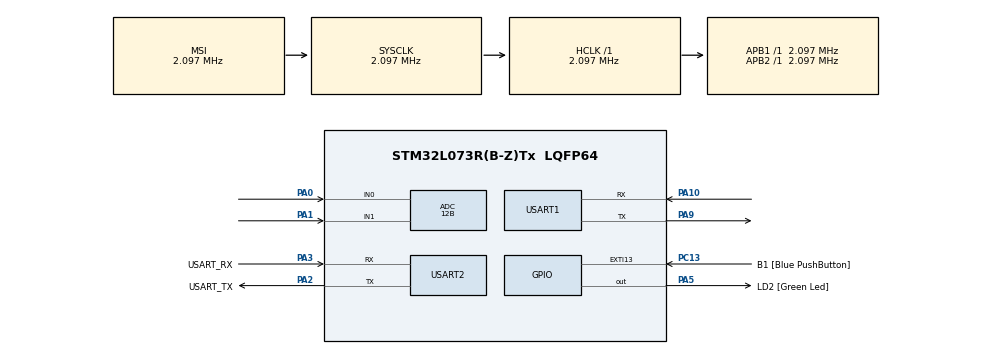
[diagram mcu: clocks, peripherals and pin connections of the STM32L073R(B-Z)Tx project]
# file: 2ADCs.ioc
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ADC.ClockPrescaler=ADC_CLOCK_SYNC_PCLK_DIV1
ADC.ContinuousConvMode=ENABLE
ADC.DMAContinuousRequests=ENABLE
ADC.DataAlign=ADC_DATAALIGN_RIGHT
ADC.DiscontinuousConvMode=DISABLE
ADC.EOCSelection=ADC_EOC_SEQ_CONV
ADC.EnableAnalogWatchDog=false
ADC.ExternalTrigConv=ADC_SOFTWARE_START
ADC.ExternalTrigConvEdge=ADC_EXTERNALTRIGCONVEDGE_NONE
ADC.LowPowerAutoPowerOff=DISABLE
ADC.LowPowerAutoWait=DISABLE
ADC.LowPowerFrequencyMode=DISABLE
ADC.Overrun=ADC_OVR_DATA_PRESERVED
ADC.OversamplingMode=DISABLE
ADC.Resolution=ADC_RESOLUTION_12B
ADC.SamplingTime=ADC_SAMPLETIME_160CYCLES_5
ADC.ScanConvMode=ADC_SCAN_DIRECTION_FORWARD
Dma.ADC.0.Direction=DMA_PERIPH_TO_MEMORY
Dma.ADC.0.Instance=DMA1_Channel1
Dma.ADC.0.MemDataAlignment=DMA_MDATAALIGN_WORD
Dma.ADC.0.MemInc=DMA_MINC_ENABLE
Dma.ADC.0.Mode=DMA_CIRCULAR
Dma.ADC.0.PeriphDataAlignment=DMA_PDATAALIGN_WORD
Dma.ADC.0.PeriphInc=DMA_PINC_DISABLE
Dma.ADC.0.Priority=DMA_PRIORITY_LOW
Dma.Request0=ADC
Mcu.Family=STM32L0
Mcu.Name=STM32L073R(B-Z)Tx
Mcu.Package=LQFP64
NVIC.DMA1_Channel1_IRQn=true\:0\:0\:false\:false\:true\:false
PA0.Mode=IN0
PA0.Signal=ADC_IN0
PA1.Mode=IN1
PA1.Signal=ADC_IN1
PA10.Mode=Asynchronous
PA10.Signal=USART1_RX
PA13.GPIO_Label=TMS
PA13.Mode=Serial_Wire
PA13.Signal=SYS_SWDIO
PA14.GPIO_Label=TCK
PA14.Mode=Serial_Wire
PA14.Signal=SYS_SWCLK
PA2.GPIO_Label=USART_TX
PA2.Mode=Asynchronous
PA2.Signal=USART2_TX
PA3.GPIO_Label=USART_RX
PA3.Mode=Asynchronous
PA3.Signal=USART2_RX
PA5.GPIO_Label=LD2 [Green Led]
PA5.Signal=GPIO_Output
PA9.Mode=Asynchronous
PA9.Signal=USART1_TX
PC13.GPIO_Label=B1 [Blue PushButton]
PC13.GPIO_ModeDefaultEXTI=GPIO_MODE_IT_FALLING
PC13.Signal=GPXTI13
PC14-OSC32_IN.Mode=LSE-External-Oscillator
PC14-OSC32_IN.Signal=RCC_OSC32_IN
PC15-OSC32_OUT.Mode=LSE-External-Oscillator
PC15-OSC32_OUT.Signal=RCC_OSC32_OUT
PH0-OSC_IN.GPIO_Label=MCO
PH0-OSC_IN.Mode=HSE-External-Clock-Source
PH0-OSC_IN.Signal=RCC_OSC_IN
ProjectManager.HeapSize=0x200
ProjectManager.StackSize=0x400
ProjectManager.TargetToolchain=SW4STM32
RCC.AHBFreq_Value=2097000
RCC.APB1Freq_Value=2097000
RCC.APB1TimFreq_Value=2097000
RCC.APB2Freq_Value=2097000
RCC.APB2TimFreq_Value=2097000
RCC.HSE_VALUE=8000000
RCC.HSI16_VALUE=16000000
RCC.HSI48_VALUE=48000000
RCC.HSI_VALUE=16000000
RCC.MSI_VALUE=2097000
RCC.SYSCLKFreq_VALUE=2097000
RCC.VCOOutputFreq_Value=48000000
USART1.VirtualMode-Asynchronous=VM_ASYNC
USART2.VirtualMode-Asynchronous=VM_ASYNC
board=NUCLEO-L073RZ

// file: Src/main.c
/**
  ******************************************************************************
  * @file           : main.c
  * @brief          : Main program body
  ******************************************************************************
  ** This notice applies to any and all portions of this file
  * that are not between comment pairs USER CODE BEGIN and
  * USER CODE END. Other portions of this file, whether
  * inserted by the user or by software development tools
  * are owned by their respective copyright owners.
  *
  * COPYRIGHT(c) 2019 STMicroelectronics
  *
  * Redistribution and use in source and binary forms, with or without modification,
  * are permitted provided that the following conditions are met:
  *   1. Redistributions of source code must retain the above copyright notice,
  *      this list of conditions and the following disclaimer.
  *   2. Redistributions in binary form must reproduce the above copyright notice,
  *      this list of conditions and the following disclaimer in the documentation
  *      and/or other materials provided with the distribution.
  *   3. Neither the name of STMicroelectronics nor the names of its contributors
  *      may be used to endorse or promote products derived from this software
  *      without specific prior written permission.
  *
  * THIS SOFTWARE IS PROVIDED BY THE COPYRIGHT HOLDERS AND CONTRIBUTORS "AS IS"
  * AND ANY EXPRESS OR IMPLIED WARRANTIES, INCLUDING, BUT NOT LIMITED TO, THE
  * IMPLIED WARRANTIES OF MERCHANTABILITY AND FITNESS FOR A PARTICULAR PURPOSE ARE
  * DISCLAIMED. IN NO EVENT SHALL THE COPYRIGHT HOLDER OR CONTRIBUTORS BE LIABLE
  * FOR ANY DIRECT, INDIRECT, INCIDENTAL, SPECIAL, EXEMPLARY, OR CONSEQUENTIAL
  * DAMAGES (INCLUDING, BUT NOT LIMITED TO, PROCUREMENT OF SUBSTITUTE GOODS OR
  * SERVICES; LOSS OF USE, DATA, OR PROFITS; OR BUSINESS INTERRUPTION) HOWEVER
  * CAUSED AND ON ANY THEORY OF LIABILITY, WHETHER IN CONTRACT, STRICT LIABILITY,
  * OR TORT (INCLUDING NEGLIGENCE OR OTHERWISE) ARISING IN ANY WAY OUT OF THE USE
  * OF THIS SOFTWARE, EVEN IF ADVISED OF THE POSSIBILITY OF SUCH DAMAGE.
  *
  ******************************************************************************
  */
#include "main.h"
#include "stm32l0xx_hal.h"

ADC_HandleTypeDef hadc;
DMA_HandleTypeDef hdma_adc;

UART_HandleTypeDef huart1;
UART_HandleTypeDef huart2;

/* USER CODE BEGIN PV */
/* Private variables ---------------------------------------------------------*/
uint32_t  adc_buf[2]={0,0};
uint32_t adc_val[2]={0,0};
uint8_t adcString[7]="0000000";
uint8_t adcString_1[7]= "0000000";
uint8_t adcString_2[7]= "0000000";
uint8_t vdc_1[7]= "0000000";
uint8_t vdc_2[7]= "0000000";
uint8_t ppm_1[7]= "0000000";
uint8_t ppm_2[7]= "0000000";
uint8_t range[2]={100,5};
void send_to_pc(uint32_t);
void convert_to_ppm();
float v_dc[2] ={0.0,0.0};
float ppm[2]={0.0,0.0};
uint8_t payload[47];
/* USER CODE END PV */

void SystemClock_Config(void);
static void MX_GPIO_Init(void);
static void MX_DMA_Init(void);
static void MX_USART2_UART_Init(void);
static void MX_ADC_Init(void);
static void MX_USART1_UART_Init(void);

/* USER CODE BEGIN PFP */
/* Private function prototypes -----------------------------------------------*/
void HAL_ADC_ConvCpltCallback(ADC_HandleTypeDef* hadc)
{

	for (int i =0; i<2;i++)
	{
	  adc_val[i] = adc_buf[i];  // store the values in adc_val from buffer
	}
}
/* USER CODE END PFP */

int main(void)
{

  /* MCU Configuration----------------------------------------------------------*/

  /* Reset of all peripherals, Initializes the Flash interface and the Systick. */
  HAL_Init();

  /* Configure the system clock */
  SystemClock_Config();

  /* Initialize all configured peripherals */
  MX_GPIO_Init();
  MX_DMA_Init();
  MX_USART2_UART_Init();
  MX_ADC_Init();
  MX_USART1_UART_Init();
  /* USER CODE BEGIN 2 */
  HAL_ADC_Start_DMA (&hadc, (uint32_t *) adc_buf, 2);
  HAL_GPIO_WritePin(LD2_GPIO_Port, LD2_Pin, SET);
  /* Infinite loop */
  while (1)
  {
	  send_to_pc(adc_val[0]);
	  for(uint8_t i=0; i<7;i++)
		  adcString_1[i]=adcString[i];
	  send_to_pc(adc_val[1]);
	  for(uint8_t i=0; i<7;i++)
		  adcString_2[i]=adcString[i];
	  HAL_Delay(1000);
	  convert_to_ppm();
	  HAL_Delay(1000);
	  for(uint8_t i=0;i<2;i++){
		  adc_val[i]=0;
	  }
	  HAL_GPIO_WritePin(LD2_GPIO_Port, LD2_Pin, SET);
	  uint8_t i=0;
	  for(uint8_t j=0;j<7;j++){
			payload[i]=adcString_1[j];
			i++;
	  }
	  payload[i]=';';
	  i++;
	  for(uint8_t j=0;j<7;j++){
			payload[i]=vdc_1[j];
			i++;
	  }
	  payload[i]=';';
	  i++;
	  for(uint8_t j=0;j<7;j++){
			payload[i]=ppm_1[j];
			i++;
	  }
	  payload[i]=';';
	  i++;
	  for(uint8_t j=0;j<7;j++){
			payload[i]=adcString_2[j];
			i++;
	  }
	  payload[i]=';';
	  i++;
	  for(uint8_t j=0;j<7;j++){
			payload[i]=vdc_2[j];
			i++;
	  }
	  payload[i]=';';
	  i++;

	  for(uint8_t j=0;j<7;j++){
			payload[i]=ppm_2[j];
			i++;
	  }
	  HAL_UART_Transmit(&huart1,(uint8_t *) payload,sizeof(payload),100);
	  HAL_Delay(1000);

  }

}
void send_to_pc(uint32_t integer){
	uint8_t remainder =0;
	uint8_t strLen =sizeof(adcString)-1;
	uint8_t counter =0;

	for(int i=0;i<strLen+1;i++)
		adcString[i]='0';
	while(integer >0){
		remainder =integer%10;
		adcString[strLen-counter]= remainder+'0';
		integer=integer/10;
		counter++;
	}
}
void convert_to_ppm(){

	for(int i=0;i<2;i++){
		v_dc[i]=adc_val[i]*(3.5/4096);
		if (v_dc[i]!=0 && v_dc[i]>1.25){
			ppm[i]=((v_dc[i]/1.25)-1)*range[i];
		}
		else if(v_dc[i] ==0 || v_dc[i]<0.2){
			ppm[i]=999.0;
		}
		else if(v_dc[i]>0.4 && v_dc[i]<0.6){
					ppm[i]=888.0;
				}
		else{
			ppm[i] =0;
		}
		//HAL_UART_Transmit(&huart1,(uint8_t *) " VDC value ",11,100);
		send_to_pc(v_dc[i]*1000);
		if(i==0){
			  for(uint8_t i=0; i<7;i++)
				  vdc_1[i]=adcString[i];
		}
		else{
			  for(uint8_t i=0; i<7;i++)
				  vdc_2[i]=adcString[i];
		}
		//HAL_UART_Transmit(&huart1,(uint8_t *) " PPM value ",11,100);
		send_to_pc(ppm[i]*1000);
		if(i==0){
			  for(uint8_t i=0; i<7;i++)
				  ppm_1[i]=adcString[i];
		}
		else{
			  for(uint8_t i=0; i<7;i++)
				  ppm_2[i]=adcString[i];
		}
	}
}
void SystemClock_Config(void)
{

  RCC_OscInitTypeDef RCC_OscInitStruct;
  RCC_ClkInitTypeDef RCC_ClkInitStruct;
  RCC_PeriphCLKInitTypeDef PeriphClkInit;

    /**Configure the main internal regulator output voltage
    */
  __HAL_PWR_VOLTAGESCALING_CONFIG(PWR_REGULATOR_VOLTAGE_SCALE1);

    /**Initializes the CPU, AHB and APB busses clocks
    */
  RCC_OscInitStruct.OscillatorType = RCC_OSCILLATORTYPE_MSI;
  RCC_OscInitStruct.MSIState = RCC_MSI_ON;
  RCC_OscInitStruct.MSICalibrationValue = 0;
  RCC_OscInitStruct.MSIClockRange = RCC_MSIRANGE_5;
  RCC_OscInitStruct.PLL.PLLState = RCC_PLL_NONE;
  if (HAL_RCC_OscConfig(&RCC_OscInitStruct) != HAL_OK)
  {
    _Error_Handler(__FILE__, __LINE__);
  }

    /**Initializes the CPU, AHB and APB busses clocks
    */
  RCC_ClkInitStruct.ClockType = RCC_CLOCKTYPE_HCLK|RCC_CLOCKTYPE_SYSCLK
                              |RCC_CLOCKTYPE_PCLK1|RCC_CLOCKTYPE_PCLK2;
  RCC_ClkInitStruct.SYSCLKSource = RCC_SYSCLKSOURCE_MSI;
  RCC_ClkInitStruct.AHBCLKDivider = RCC_SYSCLK_DIV1;
  RCC_ClkInitStruct.APB1CLKDivider = RCC_HCLK_DIV1;
  RCC_ClkInitStruct.APB2CLKDivider = RCC_HCLK_DIV1;

  if (HAL_RCC_ClockConfig(&RCC_ClkInitStruct, FLASH_LATENCY_0) != HAL_OK)
  {
    _Error_Handler(__FILE__, __LINE__);
  }

  PeriphClkInit.PeriphClockSelection = RCC_PERIPHCLK_USART1|RCC_PERIPHCLK_USART2;
  PeriphClkInit.Usart1ClockSelection = RCC_USART1CLKSOURCE_PCLK2;
  PeriphClkInit.Usart2ClockSelection = RCC_USART2CLKSOURCE_PCLK1;
  if (HAL_RCCEx_PeriphCLKConfig(&PeriphClkInit) != HAL_OK)
  {
    _Error_Handler(__FILE__, __LINE__);
  }

    /**Configure the Systick interrupt time
    */
  HAL_SYSTICK_Config(HAL_RCC_GetHCLKFreq()/1000);

    /**Configure the Systick
    */
  HAL_SYSTICK_CLKSourceConfig(SYSTICK_CLKSOURCE_HCLK);

  /* SysTick_IRQn interrupt configuration */
  HAL_NVIC_SetPriority(SysTick_IRQn, 0, 0);
}

/* ADC init function */
static void MX_ADC_Init(void)
{

  ADC_ChannelConfTypeDef sConfig;

    /**Configure the global features of the ADC (Clock, Resolution, Data Alignment and number of conversion)
    */
  hadc.Instance = ADC1;
  hadc.Init.OversamplingMode = DISABLE;
  hadc.Init.ClockPrescaler = ADC_CLOCK_SYNC_PCLK_DIV1;
  hadc.Init.Resolution = ADC_RESOLUTION_12B;
  hadc.Init.SamplingTime = ADC_SAMPLETIME_160CYCLES_5;
  hadc.Init.ScanConvMode = ADC_SCAN_DIRECTION_FORWARD;
  hadc.Init.DataAlign = ADC_DATAALIGN_RIGHT;
  hadc.Init.ContinuousConvMode = ENABLE;
  hadc.Init.DiscontinuousConvMode = DISABLE;
  hadc.Init.ExternalTrigConvEdge = ADC_EXTERNALTRIGCONVEDGE_NONE;
  hadc.Init.ExternalTrigConv = ADC_SOFTWARE_START;
  hadc.Init.DMAContinuousRequests = ENABLE;
  hadc.Init.EOCSelection = ADC_EOC_SEQ_CONV;
  hadc.Init.Overrun = ADC_OVR_DATA_PRESERVED;
  hadc.Init.LowPowerAutoWait = DISABLE;
  hadc.Init.LowPowerFrequencyMode = DISABLE;
  hadc.Init.LowPowerAutoPowerOff = DISABLE;
  if (HAL_ADC_Init(&hadc) != HAL_OK)
  {
    _Error_Handler(__FILE__, __LINE__);
  }

    /**Configure for the selected ADC regular channel to be converted.
    */
  sConfig.Channel = ADC_CHANNEL_0;
  sConfig.Rank = 1;
  if (HAL_ADC_ConfigChannel(&hadc, &sConfig) != HAL_OK)
  {
    _Error_Handler(__FILE__, __LINE__);
  }

    /**Configure for the selected ADC regular channel to be converted.
    */
  sConfig.Channel = ADC_CHANNEL_1;
  sConfig.Rank = 2;
  if (HAL_ADC_ConfigChannel(&hadc, &sConfig) != HAL_OK)
  {
    _Error_Handler(__FILE__, __LINE__);
  }

}

/* USART1 init function */
static void MX_USART1_UART_Init(void)
{

  huart1.Instance = USART1;
  huart1.Init.BaudRate = 115200;
  huart1.Init.WordLength = UART_WORDLENGTH_8B;
  huart1.Init.StopBits = UART_STOPBITS_1;
  huart1.Init.Parity = UART_PARITY_NONE;
  huart1.Init.Mode = UART_MODE_TX_RX;
  huart1.Init.HwFlowCtl = UART_HWCONTROL_NONE;
  huart1.Init.OverSampling = UART_OVERSAMPLING_16;
  huart1.Init.OneBitSampling = UART_ONE_BIT_SAMPLE_DISABLE;
  huart1.AdvancedInit.AdvFeatureInit = UART_ADVFEATURE_NO_INIT;
  if (HAL_UART_Init(&huart1) != HAL_OK)
  {
    _Error_Handler(__FILE__, __LINE__);
  }

}

/* USART2 init function */
static void MX_USART2_UART_Init(void)
{

  huart2.Instance = USART2;
  huart2.Init.BaudRate = 115200;
  huart2.Init.WordLength = UART_WORDLENGTH_8B;
  huart2.Init.StopBits = UART_STOPBITS_1;
  huart2.Init.Parity = UART_PARITY_NONE;
  huart2.Init.Mode = UART_MODE_TX_RX;
  huart2.Init.HwFlowCtl = UART_HWCONTROL_NONE;
  huart2.Init.OverSampling = UART_OVERSAMPLING_16;
  huart2.Init.OneBitSampling = UART_ONE_BIT_SAMPLE_DISABLE;
  huart2.AdvancedInit.AdvFeatureInit = UART_ADVFEATURE_NO_INIT;
  if (HAL_UART_Init(&huart2) != HAL_OK)
  {
    _Error_Handler(__FILE__, __LINE__);
  }

}

static void MX_DMA_Init(void)
{
  /* DMA controller clock enable */
  __HAL_RCC_DMA1_CLK_ENABLE();

  /* DMA interrupt init */
  /* DMA1_Channel1_IRQn interrupt configuration */
  HAL_NVIC_SetPriority(DMA1_Channel1_IRQn, 0, 0);
  HAL_NVIC_EnableIRQ(DMA1_Channel1_IRQn);

}

/** Configure pins as
        * Analog
        * Input
        * Output
        * EVENT_OUT
        * EXTI
*/
static void MX_GPIO_Init(void)
{

  GPIO_InitTypeDef GPIO_InitStruct;

  /* GPIO Ports Clock Enable */
  __HAL_RCC_GPIOC_CLK_ENABLE();
  __HAL_RCC_GPIOH_CLK_ENABLE();
  __HAL_RCC_GPIOA_CLK_ENABLE();

  /*Configure GPIO pin Output Level */
  HAL_GPIO_WritePin(LD2_GPIO_Port, LD2_Pin, GPIO_PIN_RESET);

  /*Configure GPIO pin : B1_Pin */
  GPIO_InitStruct.Pin = B1_Pin;
  GPIO_InitStruct.Mode = GPIO_MODE_IT_FALLING;
  GPIO_InitStruct.Pull = GPIO_NOPULL;
  HAL_GPIO_Init(B1_GPIO_Port, &GPIO_InitStruct);

  /*Configure GPIO pin : LD2_Pin */
  GPIO_InitStruct.Pin = LD2_Pin;
  GPIO_InitStruct.Mode = GPIO_MODE_OUTPUT_PP;
  GPIO_InitStruct.Pull = GPIO_NOPULL;
  GPIO_InitStruct.Speed = GPIO_SPEED_FREQ_LOW;
  HAL_GPIO_Init(LD2_GPIO_Port, &GPIO_InitStruct);

}

void _Error_Handler(char *file, int line)
{
  while(1)
  {
  }
}

/************************ (C) COPYRIGHT STMicroelectronics *****END OF FILE****/
